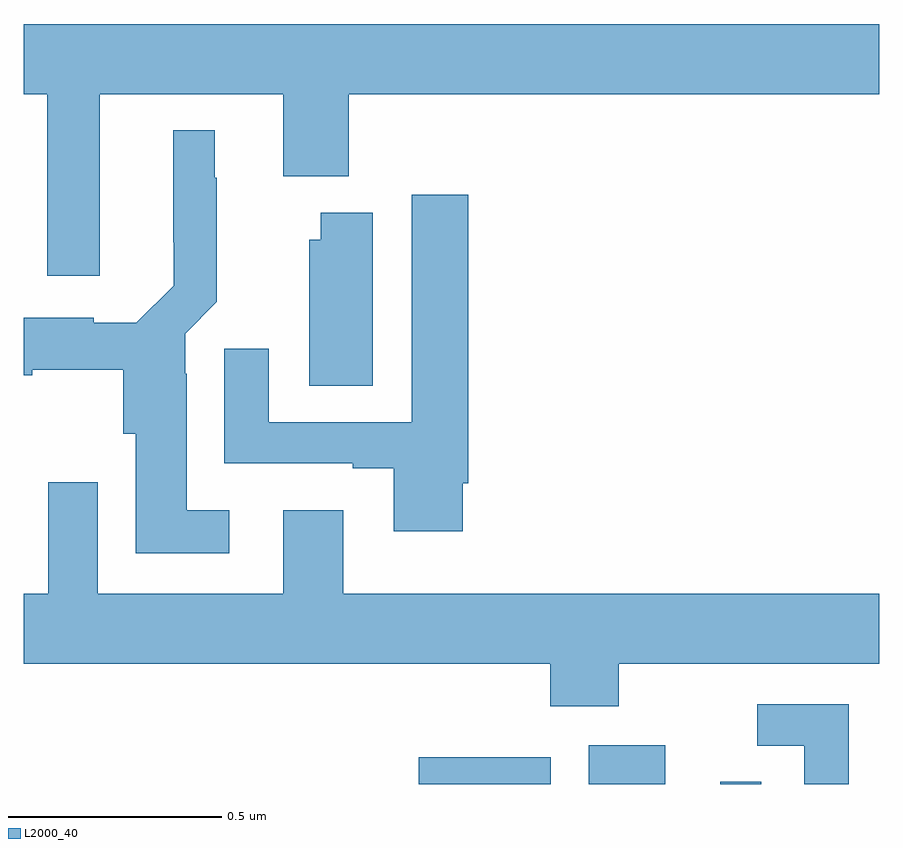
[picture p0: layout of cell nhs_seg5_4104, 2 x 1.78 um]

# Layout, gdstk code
import gdstk
lib = gdstk.Library(unit=1e-6, precision=1e-09)
def R(c, l, rs):  # rectangles x0, y0, x1, y1
    for r in rs: c.add(gdstk.rectangle(r[:2], r[2:], *l))
def P(c, l, *ps):  # polygons
    for p in ps: c.add(gdstk.Polygon(p, *l))
L2000_40 = (2000, 40)

nhs_seg5_4104 = lib.new_cell('nhs_seg5_4104')
R(nhs_seg5_4104, L2000_40, [(166.923,869.799,167.232,869.862), (167.321,869.799,167.5,869.89), (167.628,869.799,167.724,869.804)])
P(nhs_seg5_4104, L2000_40, [(166.177,871.412),(166.607,871.412),(166.607,871.22),(166.76,871.22),(166.76,871.412),(168,871.412),(168,871.576),(166,871.576),(166,871.412),(166.055,871.412),(166.055,870.987),(166.177,870.987)],
  [(166.48,870.439),(166.381,870.439),(166.381,870.758),(166.377,870.758),(166.377,870.852),(166.451,870.926),(166.451,871.217),(166.447,871.217),(166.447,871.327),(166.349,871.327),(166.349,871.066),(166.35,871.066),(166.35,870.964),(166.263,870.877),(166.164,870.877),(166.164,870.889),(166,870.889),(166,870.755),(166.02,870.755),(166.02,870.767),(166.232,870.767),(166.232,870.618),(166.262,870.618),(166.262,870.338),(166.48,870.338)],
  [(167.026,870.502),(167.039,870.502),(167.039,871.177),(166.907,871.177),(166.907,870.645),(166.573,870.645),(166.573,870.817),(166.469,870.817),(166.469,870.549),(166.769,870.549),(166.769,870.537),(166.865,870.537),(166.865,870.39),(167.026,870.39)],
  [(166.816,871.135),(166.694,871.135),(166.694,871.071),(166.667,871.071),(166.667,870.73),(166.816,870.73)],
  [(167.391,870.08),(168,870.08),(168,870.244),(166.747,870.244),(166.747,870.439),(166.607,870.439),(166.607,870.244),(166.173,870.244),(166.173,870.505),(166.057,870.505),(166.057,870.244),(166,870.244),(166,870.08),(167.231,870.08),(167.231,869.981),(167.391,869.981)],
  [(167.929,869.985),(167.715,869.985),(167.715,869.889),(167.825,869.889),(167.825,869.799),(167.929,869.799)])

lib.write_gds('nhs_seg5_4104.gds')
